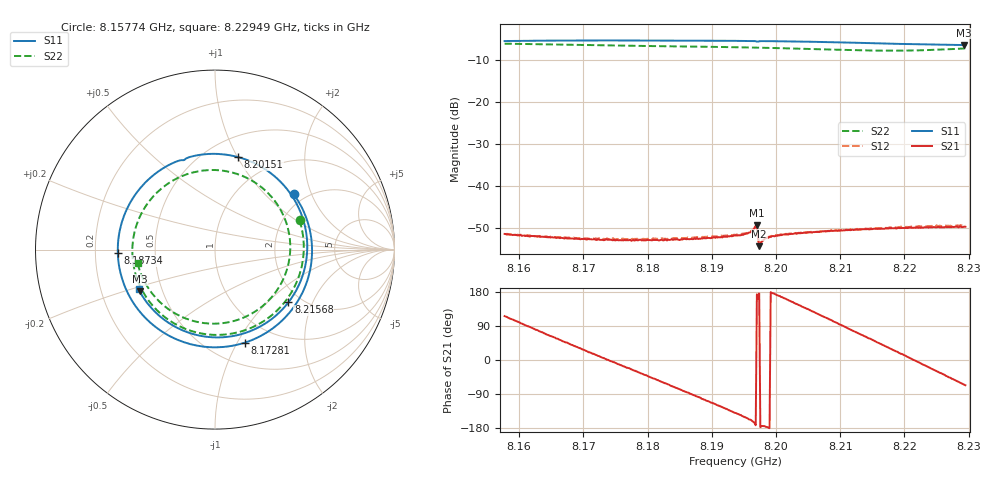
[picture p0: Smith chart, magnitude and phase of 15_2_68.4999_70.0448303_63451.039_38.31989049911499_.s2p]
#  HZ  S  RI  R  50.00
! Rohde & Schwarz Vector Network Analyzer
! Rohde-Schwarz,ZNB20-2Port,1311601062101988,3.16
! Created: UTC 3/20/2024, 5:04:20 PM
! freq[Hz]  re:S11  im:S11  re:S21  im:S21  re:S12  im:S12  re:S22  im:S22
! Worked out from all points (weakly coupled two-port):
!   401 points, 8.15774 GHz to 8.22949 GHz, reference 50 ohm
!   highest |S21| = -49.39 dB at 8.19702 GHz (marker M1); lowest = -54.4 dB at 8.19738 GHz (marker M2)
!   lowest |S11| = -6.4 dB at 8.22931 GHz (marker M3), VSWR 2.84, Z = 18.6 - j11.2 ohm
!   |S11| at or under -10 dB: nowhere
!   |S22| runs from -7.7 to -6.0 dB; largest |S21 - S12| = 0.00028
!   S11 on the Smith chart (normalised r, x): 8.15774 GHz: 1.73, +1.50; 8.17281 GHz: 0.73, -1.08; 8.18734 GHz: 0.30, -0.02; 8.20151 GHz: 0.70, +1.01; 8.21568 GHz: 1.71, -1.35; 8.22949 GHz: 0.37, -0.21
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8.157742e9  0.4377 0.3093  -0.00117 0.00241  -0.00119 0.00239  0.4713 0.1626
8.163661e9  0.5374 -0.0661  0.000732 0.00237  0.000767 0.00238  0.4522 -0.1876
8.16976e9  0.3466 -0.4194  0.00205 0.00112  0.00206 0.00113  0.2037 -0.435
8.172809e9  0.1662 -0.5185  0.00226 0.000286  0.00233 0.00034  0.0331 -0.4747
8.177114e9  -0.1246 -0.5298  0.00209 -0.000827  0.00212 -0.000874  -0.2042 -0.4238
8.181777e9  -0.3985 -0.3694  0.00129 -0.00182  0.00132 -0.00192  -0.3941 -0.2477
8.187338e9  -0.5415 -0.0186  -0.000148 -0.00236  -0.000245 -0.00242  -0.457 0.0501
8.190387e9  -0.506 0.1903  -0.00104 -0.0022  -0.00112 -0.00223  -0.405 0.2104
8.193615e9  -0.3832 0.3787  -0.00195 -0.00166  -0.00203 -0.00163  -0.2898 0.3473
8.196665e9  -0.2019 0.4952  -0.00304 -0.000752  -0.00312 -0.000587  -0.1387 0.4255
8.197023e9  -0.1762 0.4981  -0.00337 0.000385  -0.00342 0.000493  -0.1191 0.4307
8.197382e9  -0.1613 0.5075  -0.0019 0.000145  -0.00192 0.000232  -0.0994 0.435
8.197741e9  -0.1359 0.5171  -0.00214 -0.00021  -0.00216 -0.000141  -0.0794 0.4387
8.201507e9  0.129 0.5154  -0.00249 0.000826  -0.0025 0.000983  0.1319 0.4183
8.205633e9  0.3759 0.3665  -0.00172 0.00217  -0.00167 0.00227  0.3248 0.2819
8.210655e9  0.5134 0.0437  7.88e-05 0.00294  0.00016 0.00296  0.4193 0.0031
8.215677e9  0.4091 -0.2939  0.00209 0.00226  0.00217 0.00223  0.3024 -0.2796
8.21765e9  0.3073 -0.3932  0.00267 0.00162  0.00275 0.00158  0.203 -0.3573
8.22052e9  0.119 -0.4779  0.00311 0.00043  0.00323 0.000316  0.0239 -0.4117
8.223211e9  -0.0745 -0.4816  0.00312 -0.000798  0.00313 -0.000953  -0.1539 -0.3874
8.229309e9  -0.42 -0.2318  0.00136 -0.00297  0.00123 -0.00311  -0.4279 -0.0885
8.229488e9  -0.4262 -0.2204  0.00129 -0.00299  0.0012 -0.00316  -0.431 -0.0764
